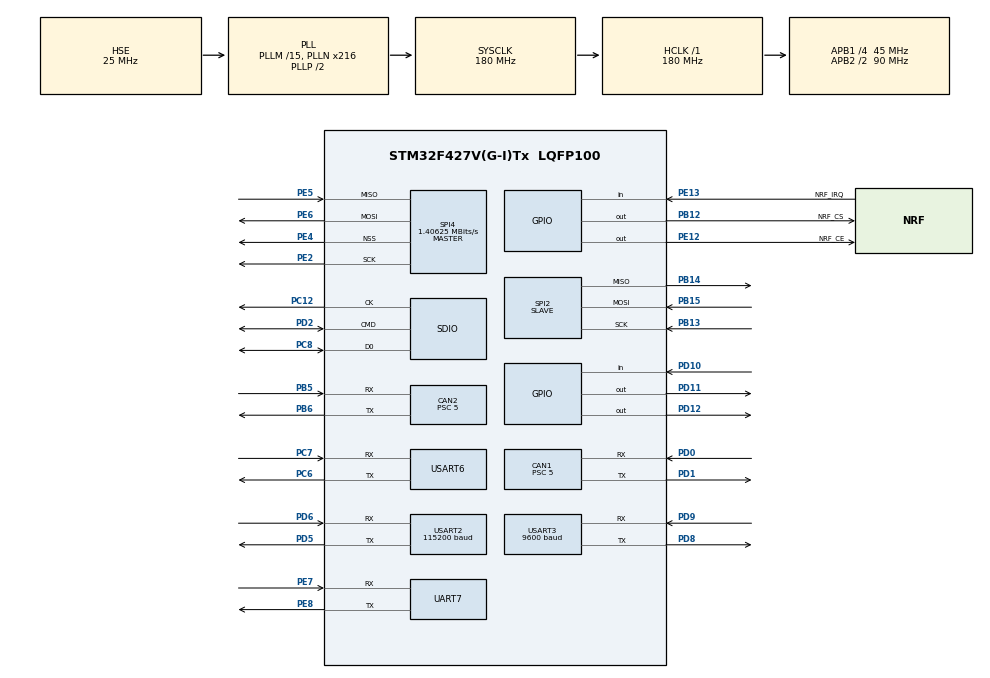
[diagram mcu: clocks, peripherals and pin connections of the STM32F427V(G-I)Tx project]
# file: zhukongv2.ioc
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CAN1.BS1=CAN_BS1_7TQ
CAN1.CalculateBaudRate=1000000
CAN1.CalculateTimeBit=1000
CAN1.CalculateTimeQuantum=111.11111111111111
CAN1.Prescaler=5
CAN1.RFLM=DISABLE
CAN2.BS1=CAN_BS1_7TQ
CAN2.CalculateBaudRate=1000000
CAN2.CalculateTimeBit=1000
CAN2.CalculateTimeQuantum=111.11111111111111
CAN2.Prescaler=5
CAN2.RFLM=DISABLE
Dma.Request0=USART6_RX
Dma.Request1=USART3_RX
Dma.USART3_RX.1.Direction=DMA_PERIPH_TO_MEMORY
Dma.USART3_RX.1.FIFOMode=DMA_FIFOMODE_DISABLE
Dma.USART3_RX.1.Instance=DMA1_Stream1
Dma.USART3_RX.1.MemDataAlignment=DMA_MDATAALIGN_BYTE
Dma.USART3_RX.1.MemInc=DMA_MINC_ENABLE
Dma.USART3_RX.1.Mode=DMA_CIRCULAR
Dma.USART3_RX.1.PeriphDataAlignment=DMA_PDATAALIGN_BYTE
Dma.USART3_RX.1.PeriphInc=DMA_PINC_DISABLE
Dma.USART3_RX.1.Priority=DMA_PRIORITY_LOW
Dma.USART6_RX.0.Direction=DMA_PERIPH_TO_MEMORY
Dma.USART6_RX.0.FIFOMode=DMA_FIFOMODE_DISABLE
Dma.USART6_RX.0.Instance=DMA2_Stream1
Dma.USART6_RX.0.MemDataAlignment=DMA_MDATAALIGN_BYTE
Dma.USART6_RX.0.MemInc=DMA_MINC_ENABLE
Dma.USART6_RX.0.Mode=DMA_CIRCULAR
Dma.USART6_RX.0.PeriphDataAlignment=DMA_PDATAALIGN_BYTE
Dma.USART6_RX.0.PeriphInc=DMA_PINC_DISABLE
Dma.USART6_RX.0.Priority=DMA_PRIORITY_LOW
FATFS._CODE_PAGE=936
FATFS._MAX_SS=4096
FATFS._USE_CHMOD=1
FATFS._USE_EXPAND=1
FATFS._USE_FIND=1
FATFS._USE_FORWARD=1
FATFS._USE_LABEL=1
FATFS._USE_LFN=2
FATFS._VOLUMES=2
FREERTOS.Tasks01=defaultTask,8,128,StartDefaultTask,Default,NULL,Dynamic,NULL,NULL;TrotForward,24,256,TrotForwardTask,Default,NULL,Dynamic,NULL,NULL;TrotBack,24,256,TrotBackTask,Default,NULL,Dynamic,NULL,NULL;RotateLeft,24,256,RotateLeftTask,Default,NULL,Dynamic,NULL,NULL;RotateRight,24,256,RotateRightTask,Default,NULL,Dynamic,NULL,NULL;MoveLeft,32,256,MoveLeftTask,Default,NULL,Dynamic,NULL,NULL;MoveRight,24,256,MoveRightTask,Default,NULL,Dynamic,NULL,NULL;JumpUp,24,256,JumpUpTask,Default,NULL,Dynamic,NULL,NULL;JumpForward,24,256,JumpForwardTask,Default,NULL,Dynamic,NULL,NULL;WalkSlope,24,512,WalkSlopeTask,Default,NULL,Dynamic,NULL,NULL;WalkSlope_LR,24,512,WalkSlopeLRTask,Default,NULL,Dynamic,NULL,NULL;Stand,24,128,StandTask,Default,NULL,Dynamic,NULL,NULL;ParseHandle,32,128,ParseHandleTask,Default,NULL,Dynamic,NULL,NULL;ParseIMU,32,128,ParseIMUTask,Default,NULL,Dynamic,NULL,NULL;NotifyAction,32,128,NotifyActionTask,Default,NULL,Dynamic,NULL,NULL;ParseCamera,32,128,ParseCameraTask,Default,NULL,Dynamic,NULL,NULL
FREERTOS.configCHECK_FOR_STACK_OVERFLOW=2
FREERTOS.configTOTAL_HEAP_SIZE=20000
Mcu.Family=STM32F4
Mcu.Name=STM32F427V(G-I)Tx
Mcu.Package=LQFP100
NVIC.CAN1_RX0_IRQn=true\:5\:0\:false\:false\:true\:true\:true\:true\:true
NVIC.CAN1_RX1_IRQn=true\:5\:0\:false\:false\:true\:true\:true\:true\:true
NVIC.CAN2_RX0_IRQn=true\:5\:0\:false\:false\:true\:true\:true\:true\:true
NVIC.CAN2_RX1_IRQn=true\:5\:0\:false\:false\:true\:true\:true\:true\:true
NVIC.DMA1_Stream1_IRQn=true\:5\:0\:false\:false\:true\:true\:false\:true\:true
NVIC.DMA2_Stream1_IRQn=true\:5\:0\:false\:false\:true\:true\:false\:true\:true
NVIC.PriorityGroup=NVIC_PRIORITYGROUP_4
NVIC.SDIO_IRQn=true\:5\:0\:false\:false\:true\:true\:true\:true\:true
NVIC.SPI4_IRQn=true\:5\:0\:false\:false\:true\:true\:true\:true\:true
NVIC.TIM2_IRQn=true\:5\:0\:true\:false\:true\:true\:true\:true\:true
NVIC.USART2_IRQn=true\:5\:0\:false\:false\:true\:true\:true\:true\:true
NVIC.USART3_IRQn=true\:5\:0\:false\:false\:true\:true\:true\:true\:true
NVIC.USART6_IRQn=true\:5\:0\:false\:false\:true\:true\:true\:true\:true
PA13.Mode=Serial_Wire
PA13.Signal=SYS_JTMS-SWDIO
PA14.Mode=Serial_Wire
PA14.Signal=SYS_JTCK-SWCLK
PB12.GPIO_Label=NRF_CS
PB12.GPIO_Speed=GPIO_SPEED_FREQ_HIGH
PB12.PinState=GPIO_PIN_SET
PB12.Signal=GPIO_Output
PB13.Mode=Full_Duplex_Slave
PB13.Signal=SPI2_SCK
PB14.Mode=Full_Duplex_Slave
PB14.Signal=SPI2_MISO
PB15.Mode=Full_Duplex_Slave
PB15.Signal=SPI2_MOSI
PB5.GPIO_PuPd=GPIO_NOPULL
PB5.Mode=CAN_Activate
PB5.Signal=CAN2_RX
PB6.GPIO_PuPd=GPIO_NOPULL
PB6.Mode=CAN_Activate
PB6.Signal=CAN2_TX
PC12.Mode=SD_1_bit
PC12.Signal=SDIO_CK
PC6.Mode=Asynchronous
PC6.Signal=USART6_TX
PC7.Mode=Asynchronous
PC7.Signal=USART6_RX
PC8.Mode=SD_1_bit
PC8.Signal=SDIO_D0
PD0.GPIO_PuPd=GPIO_NOPULL
PD0.Mode=CAN_Activate
PD0.Signal=CAN1_RX
PD1.GPIO_PuPd=GPIO_NOPULL
PD1.Mode=CAN_Activate
PD1.Signal=CAN1_TX
PD10.Signal=GPIO_Input
PD11.GPIO_PuPd=GPIO_PULLUP
PD11.Signal=GPIO_Output
PD12.GPIO_PuPd=GPIO_PULLUP
PD12.PinState=GPIO_PIN_SET
PD12.Signal=GPIO_Output
PD2.Mode=SD_1_bit
PD2.Signal=SDIO_CMD
PD5.Mode=Asynchronous
PD5.Signal=USART2_TX
PD6.Mode=Asynchronous
PD6.Signal=USART2_RX
PD8.Mode=Asynchronous
PD8.Signal=USART3_TX
PD9.Mode=Asynchronous
PD9.Signal=USART3_RX
PE12.GPIO_Label=NRF_CE
PE12.GPIO_Speed=GPIO_SPEED_FREQ_HIGH
PE12.PinState=GPIO_PIN_SET
PE12.Signal=GPIO_Output
PE13.GPIO_Label=NRF_IRQ
PE13.GPIO_PuPd=GPIO_PULLUP
PE13.Signal=GPIO_Input
PE2.Mode=Full_Duplex_Master
PE2.Signal=SPI4_SCK
PE4.Mode=NSS_Signal_Hard_Output
PE4.Signal=SPI4_NSS
PE5.Mode=Full_Duplex_Master
PE5.Signal=SPI4_MISO
PE6.Mode=Full_Duplex_Master
PE6.Signal=SPI4_MOSI
PE7.Mode=Asynchronous
PE7.Signal=UART7_RX
PE8.Mode=Asynchronous
PE8.Signal=UART7_TX
PH0/OSC_IN.Mode=HSE-External-Oscillator
PH0/OSC_IN.Signal=RCC_OSC_IN
PH1/OSC_OUT.Mode=HSE-External-Oscillator
PH1/OSC_OUT.Signal=RCC_OSC_OUT
ProjectManager.HeapSize=0x200
ProjectManager.StackSize=0x400
ProjectManager.TargetToolchain=EWARM V8.32
RCC.48MHZClocksFreq_Value=45000000
RCC.AHBFreq_Value=180000000
RCC.APB1CLKDivider=RCC_HCLK_DIV4
RCC.APB1Freq_Value=45000000
RCC.APB1TimFreq_Value=90000000
RCC.APB2CLKDivider=RCC_HCLK_DIV2
RCC.APB2Freq_Value=90000000
RCC.APB2TimFreq_Value=180000000
RCC.CortexFreq_Value=180000000
RCC.HCLKFreq_Value=180000000
RCC.HSE_VALUE=25000000
RCC.HSI_VALUE=16000000
RCC.LSE_VALUE=32768
RCC.PLLM=15
RCC.PLLN=216
RCC.PLLQ=8
RCC.PLLSourceVirtual=RCC_PLLSOURCE_HSE
RCC.SYSCLKFreq_VALUE=180000000
RCC.SYSCLKSource=RCC_SYSCLKSOURCE_PLLCLK
RCC.VCOOutputFreq_Value=360000000
SPI2.Direction=SPI_DIRECTION_2LINES
SPI2.Mode=SPI_MODE_SLAVE
SPI2.VirtualType=VM_SLAVE
SPI4.BaudRatePrescaler=SPI_BAUDRATEPRESCALER_64
SPI4.CalculateBaudRate=1.40625 MBits/s
SPI4.Direction=SPI_DIRECTION_2LINES
SPI4.Mode=SPI_MODE_MASTER
SPI4.VirtualNSS=VM_NSSHARD
SPI4.VirtualType=VM_MASTER
TIM2.AutoReloadPreload=TIM_AUTORELOAD_PRELOAD_ENABLE
TIM2.Channel-Output\ Compare1\ No\ Output=TIM_CHANNEL_1
TIM2.Period=199
TIM2.Prescaler=89
UART7.VirtualMode=Asynchronous
USART2.BaudRate=115200
USART2.VirtualMode=VM_ASYNC
USART3.BaudRate=9600
USART3.VirtualMode=VM_ASYNC
USART6.VirtualMode=VM_ASYNC
VP_FATFS_VS_Generic.Mode=User_defined
VP_FATFS_VS_SDIO.Mode=SDIO
VP_FREERTOS_VS_CMSIS_V2.Mode=CMSIS_V2
VP_TIM2_VS_no_output1.Mode=Output Compare1 No Output
board=custom

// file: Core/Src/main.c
/* USER CODE BEGIN Header */
/**
  ******************************************************************************
  * @file           : main.c
  * @brief          : Main program body
  ******************************************************************************
  * @attention
  *
  * Copyright (c) 2025 STMicroelectronics.
  * All rights reserved.
  *
  * This software is licensed under terms that can be found in the LICENSE file
  * in the root directory of this software component.
  * If no LICENSE file comes with this software, it is provided AS-IS.
  *
  ******************************************************************************
  */
/* USER CODE END Header */
#include "main.h"
#include "cmsis_os.h"
#include "can.h"
#include "dma.h"
#include "fatfs.h"
#include "sdio.h"
#include "spi.h"
#include "tim.h"
#include "usart.h"
#include "gpio.h"

/* USER CODE BEGIN Includes */

#include "DeepJ60_Motor.h"
#include "GaitController.h"
#include "Handle.h"
#include "imu.h"
#include "Camera.h"

/* USER CODE END Includes */

/* USER CODE BEGIN PV */

QueueHandle_t cmd_queue = NULL;
QueueHandle_t imu_queue = NULL;
QueueHandle_t camera_queue = NULL;
uint8_t rx_cmd[HANDLE_DATA_SIZE];

/* USER CODE END PV */

void SystemClock_Config(void);
void MX_FREERTOS_Init(void);

int main(void)
{

  /* MCU Configuration--------------------------------------------------------*/

  /* Reset of all peripherals, Initializes the Flash interface and the Systick. */
  HAL_Init();

  /* Configure the system clock */
  SystemClock_Config();

  /* Initialize all configured peripherals */
  MX_GPIO_Init();
  MX_DMA_Init();
  MX_CAN1_Init();
  MX_CAN2_Init();
  MX_SPI4_Init();
  MX_TIM2_Init();
  MX_SDIO_SD_Init();
  MX_FATFS_Init();
  MX_UART7_Init();
  MX_USART3_UART_Init();
  MX_USART6_UART_Init();
  MX_USART2_UART_Init();
  MX_SPI2_Init();
  /* USER CODE BEGIN 2 */

  HAL_Delay(4000);

  EnableJ60Motor(&J60Motor_CAN1[0], 1, 1); // lf out
  EnableJ60Motor(&J60Motor_CAN1[1], 2, 1); // lf in
  EnableJ60Motor(&J60Motor_CAN2[0], 1, 2); // rb out
  EnableJ60Motor(&J60Motor_CAN2[1], 2, 2); // rb in

  HAL_Delay(1);
  RunJ60Motor(&J60Motor_CAN1[0], J60Motor_StandUpData_CAN1[0], 0, 0, 20, 4, PositionMode);
  HAL_Delay(1);
  RunJ60Motor(&J60Motor_CAN1[1], J60Motor_StandUpData_CAN1[1], 0, 0, 20, 4, PositionMode);
  HAL_Delay(1);
  RunJ60Motor(&J60Motor_CAN2[0], J60Motor_StandUpData_CAN2[0], 0, 0, 20, 4, PositionMode);
  HAL_Delay(1);
  RunJ60Motor(&J60Motor_CAN2[1], J60Motor_StandUpData_CAN2[1], 0, 0, 20, 4, PositionMode);

  HAL_Delay(2000);

  HAL_UARTEx_ReceiveToIdle_DMA(&huart3, (uint8_t*)dma_buffer, DMA_BUFFER_SIZE);
  // HAL_UARTEx_Receive_DMA(&huart6, (uint8_t*)dma_buffer, DMA_BUFFER_SIZE);
  HAL_UART_Receive_IT(&huart2, (uint8_t*)rx_bytes, RX_BTYES_LENGTH);

  cmd_queue = xQueueCreate(10, sizeof(uint8_t) * HANDLE_DATA_SIZE);
  imu_queue = xQueueCreate(10, sizeof(uint8_t) * IMU_DATA_SIZE);
  camera_queue = xQueueCreate(10, sizeof(uint8_t) * RX_BTYES_LENGTH);

  /* USER CODE END 2 */

  /* Init scheduler */
  osKernelInitialize();

  /* Call init function for freertos objects (in cmsis_os2.c) */
  MX_FREERTOS_Init();

  /* Start scheduler */
  osKernelStart();

  /* We should never get here as control is now taken by the scheduler */

  /* Infinite loop */
  /* USER CODE BEGIN WHILE */
  while (1)
  {
    // HAL_Delay(1);
    // RunJ60Motor(&J60Motor_CAN1[0], 0, 0, 0, 0, 0, ZeroTorqueMode);
    // HAL_Delay(1);
    // RunJ60Motor(&J60Motor_CAN1[1], 0, 0, 0, 0, 0, ZeroTorqueMode);
    // HAL_Delay(1);
    // RunJ60Motor(&J60Motor_CAN2[0], 0, 0, 0, 0, 0, ZeroTorqueMode);
    // HAL_Delay(1);
    // RunJ60Motor(&J60Motor_CAN2[1], 0, 0, 0, 0, 0, ZeroTorqueMode);

    /* USER CODE END WHILE */

  }
}

void SystemClock_Config(void)
{
  RCC_OscInitTypeDef RCC_OscInitStruct = {0};
  RCC_ClkInitTypeDef RCC_ClkInitStruct = {0};

  /** Configure the main internal regulator output voltage
  */
  __HAL_RCC_PWR_CLK_ENABLE();
  __HAL_PWR_VOLTAGESCALING_CONFIG(PWR_REGULATOR_VOLTAGE_SCALE1);

  /** Initializes the RCC Oscillators according to the specified parameters
  * in the RCC_OscInitTypeDef structure.
  */
  RCC_OscInitStruct.OscillatorType = RCC_OSCILLATORTYPE_HSE;
  RCC_OscInitStruct.HSEState = RCC_HSE_ON;
  RCC_OscInitStruct.PLL.PLLState = RCC_PLL_ON;
  RCC_OscInitStruct.PLL.PLLSource = RCC_PLLSOURCE_HSE;
  RCC_OscInitStruct.PLL.PLLM = 15;
  RCC_OscInitStruct.PLL.PLLN = 216;
  RCC_OscInitStruct.PLL.PLLP = RCC_PLLP_DIV2;
  RCC_OscInitStruct.PLL.PLLQ = 8;
  if (HAL_RCC_OscConfig(&RCC_OscInitStruct) != HAL_OK)
  {
    Error_Handler();
  }

  /** Activate the Over-Drive mode
  */
  if (HAL_PWREx_EnableOverDrive() != HAL_OK)
  {
    Error_Handler();
  }

  /** Initializes the CPU, AHB and APB buses clocks
  */
  RCC_ClkInitStruct.ClockType = RCC_CLOCKTYPE_HCLK|RCC_CLOCKTYPE_SYSCLK
                              |RCC_CLOCKTYPE_PCLK1|RCC_CLOCKTYPE_PCLK2;
  RCC_ClkInitStruct.SYSCLKSource = RCC_SYSCLKSOURCE_PLLCLK;
  RCC_ClkInitStruct.AHBCLKDivider = RCC_SYSCLK_DIV1;
  RCC_ClkInitStruct.APB1CLKDivider = RCC_HCLK_DIV4;
  RCC_ClkInitStruct.APB2CLKDivider = RCC_HCLK_DIV2;

  if (HAL_RCC_ClockConfig(&RCC_ClkInitStruct, FLASH_LATENCY_5) != HAL_OK)
  {
    Error_Handler();
  }
}

void Error_Handler(void)
{
  __disable_irq();
  while (1)
  {
  }
}

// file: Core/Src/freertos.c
/* USER CODE BEGIN Header */
/**
  ******************************************************************************
  * File Name          : freertos.c
  * Description        : Code for freertos applications
  ******************************************************************************
  * @attention
  *
  * Copyright (c) 2025 STMicroelectronics.
  * All rights reserved.
  *
  * This software is licensed under terms that can be found in the LICENSE file
  * in the root directory of this software component.
  * If no LICENSE file comes with this software, it is provided AS-IS.
  *
  ******************************************************************************
  */
/* USER CODE END Header */

#include "FreeRTOS.h"
#include "task.h"
#include "main.h"
#include "cmsis_os.h"

/* USER CODE BEGIN Includes */

#include "GaitController.h"
#include "Handle.h"
#include "imu.h"
#include "Camera.h"
#include "tim.h"
#include "math.h"
#include "foot_attitude_calculation.h"

/* USER CODE END Includes */

/* USER CODE BEGIN PM */

#define START_ACTION 2
#define END_ACTION 1

#define INIT_TROT_LENGTH 0.2f
#define MAX_TROT_LENGTH 0.3f

/* USER CODE END PM */

/* USER CODE BEGIN Variables */

osThreadId_t TaskHandle = NULL;
int is_stack_overflow = 0;

float trot_length = INIT_TROT_LENGTH;

int tim_callback = 0;

//uint8_t rx_cmd[HANDLE_DATA_SIZE];

/* USER CODE END Variables */
/* Definitions for defaultTask */
osThreadId_t defaultTaskHandle;
const osThreadAttr_t defaultTask_attributes = {
  .name = "defaultTask",
  .stack_size = 128 * 4,
  .priority = (osPriority_t) osPriorityLow,
};
/* Definitions for TrotForward */
osThreadId_t TrotForwardHandle;
const osThreadAttr_t TrotForward_attributes = {
  .name = "TrotForward",
  .stack_size = 256 * 4,
  .priority = (osPriority_t) osPriorityNormal,
};
/* Definitions for TrotBack */
osThreadId_t TrotBackHandle;
const osThreadAttr_t TrotBack_attributes = {
  .name = "TrotBack",
  .stack_size = 256 * 4,
  .priority = (osPriority_t) osPriorityNormal,
};
/* Definitions for RotateLeft */
osThreadId_t RotateLeftHandle;
const osThreadAttr_t RotateLeft_attributes = {
  .name = "RotateLeft",
  .stack_size = 256 * 4,
  .priority = (osPriority_t) osPriorityNormal,
};
/* Definitions for RotateRight */
osThreadId_t RotateRightHandle;
const osThreadAttr_t RotateRight_attributes = {
  .name = "RotateRight",
  .stack_size = 256 * 4,
  .priority = (osPriority_t) osPriorityNormal,
};
/* Definitions for MoveLeft */
osThreadId_t MoveLeftHandle;
const osThreadAttr_t MoveLeft_attributes = {
  .name = "MoveLeft",
  .stack_size = 256 * 4,
  .priority = (osPriority_t) osPriorityAboveNormal,
};
/* Definitions for MoveRight */
osThreadId_t MoveRightHandle;
const osThreadAttr_t MoveRight_attributes = {
  .name = "MoveRight",
  .stack_size = 256 * 4,
  .priority = (osPriority_t) osPriorityNormal,
};
/* Definitions for JumpUp */
osThreadId_t JumpUpHandle;
const osThreadAttr_t JumpUp_attributes = {
  .name = "JumpUp",
  .stack_size = 256 * 4,
  .priority = (osPriority_t) osPriorityNormal,
};
/* Definitions for JumpForward */
osThreadId_t JumpForwardHandle;
const osThreadAttr_t JumpForward_attributes = {
  .name = "JumpForward",
  .stack_size = 256 * 4,
  .priority = (osPriority_t) osPriorityNormal,
};
/* Definitions for WalkSlope */
osThreadId_t WalkSlopeHandle;
const osThreadAttr_t WalkSlope_attributes = {
  .name = "WalkSlope",
  .stack_size = 512 * 4,
  .priority = (osPriority_t) osPriorityNormal,
};
/* Definitions for WalkSlope_LR */
osThreadId_t WalkSlope_LRHandle;
const osThreadAttr_t WalkSlope_LR_attributes = {
  .name = "WalkSlope_LR",
  .stack_size = 512 * 4,
  .priority = (osPriority_t) osPriorityNormal,
};
/* Definitions for Stand */
osThreadId_t StandHandle;
const osThreadAttr_t Stand_attributes = {
  .name = "Stand",
  .stack_size = 128 * 4,
  .priority = (osPriority_t) osPriorityNormal,
};
/* Definitions for ParseHandle */
osThreadId_t ParseHandleHandle;
const osThreadAttr_t ParseHandle_attributes = {
  .name = "ParseHandle",
  .stack_size = 128 * 4,
  .priority = (osPriority_t) osPriorityAboveNormal,
};
/* Definitions for ParseIMU */
osThreadId_t ParseIMUHandle;
const osThreadAttr_t ParseIMU_attributes = {
  .name = "ParseIMU",
  .stack_size = 128 * 4,
  .priority = (osPriority_t) osPriorityAboveNormal,
};
/* Definitions for NotifyAction */
osThreadId_t NotifyActionHandle;
const osThreadAttr_t NotifyAction_attributes = {
  .name = "NotifyAction",
  .stack_size = 128 * 4,
  .priority = (osPriority_t) osPriorityAboveNormal,
};
/* Definitions for ParseCamera */
osThreadId_t ParseCameraHandle;
const osThreadAttr_t ParseCamera_attributes = {
  .name = "ParseCamera",
  .stack_size = 128 * 4,
  .priority = (osPriority_t) osPriorityAboveNormal,
};

void StartDefaultTask(void *argument);
void TrotForwardTask(void *argument);
void TrotBackTask(void *argument);
void RotateLeftTask(void *argument);
void RotateRightTask(void *argument);
void MoveLeftTask(void *argument);
void MoveRightTask(void *argument);
void JumpUpTask(void *argument);
void JumpForwardTask(void *argument);
void WalkSlopeTask(void *argument);
void WalkSlopeLRTask(void *argument);
void StandTask(void *argument);
void ParseHandleTask(void *argument);
void ParseIMUTask(void *argument);
void NotifyActionTask(void *argument);
void ParseCameraTask(void *argument);

void MX_FREERTOS_Init(void); /* (MISRA C 2004 rule 8.1) */

/* Hook prototypes */
void vApplicationStackOverflowHook(xTaskHandle xTask, signed char *pcTaskName);

/* USER CODE BEGIN 4 */
void vApplicationStackOverflowHook(xTaskHandle xTask, signed char *pcTaskName)
{
   /* Run time stack overflow checking is performed if
   configCHECK_FOR_STACK_OVERFLOW is defined to 1 or 2. This hook function is
   called if a stack overflow is detected. */
   is_stack_overflow = 1;
   while (1);
}
/* USER CODE END 4 */

void MX_FREERTOS_Init(void) {

  /* Create the thread(s) */
  /* creation of defaultTask */
  defaultTaskHandle = osThreadNew(StartDefaultTask, NULL, &defaultTask_attributes);

  /* creation of TrotForward */
  TrotForwardHandle = osThreadNew(TrotForwardTask, NULL, &TrotForward_attributes);

  /* creation of TrotBack */
  TrotBackHandle = osThreadNew(TrotBackTask, NULL, &TrotBack_attributes);

  /* creation of RotateLeft */
  RotateLeftHandle = osThreadNew(RotateLeftTask, NULL, &RotateLeft_attributes);

  /* creation of RotateRight */
  RotateRightHandle = osThreadNew(RotateRightTask, NULL, &RotateRight_attributes);

  /* creation of MoveLeft */
  MoveLeftHandle = osThreadNew(MoveLeftTask, NULL, &MoveLeft_attributes);

  /* creation of MoveRight */
  MoveRightHandle = osThreadNew(MoveRightTask, NULL, &MoveRight_attributes);

  /* creation of JumpUp */
  JumpUpHandle = osThreadNew(JumpUpTask, NULL, &JumpUp_attributes);

  /* creation of JumpForward */
  JumpForwardHandle = osThreadNew(JumpForwardTask, NULL, &JumpForward_attributes);

  /* creation of WalkSlope */
  WalkSlopeHandle = osThreadNew(WalkSlopeTask, NULL, &WalkSlope_attributes);

  /* creation of WalkSlope_LR */
  WalkSlope_LRHandle = osThreadNew(WalkSlopeLRTask, NULL, &WalkSlope_LR_attributes);

  /* creation of Stand */
  StandHandle = osThreadNew(StandTask, NULL, &Stand_attributes);

  /* creation of ParseHandle */
  ParseHandleHandle = osThreadNew(ParseHandleTask, NULL, &ParseHandle_attributes);

  /* creation of ParseIMU */
  ParseIMUHandle = osThreadNew(ParseIMUTask, NULL, &ParseIMU_attributes);

  /* creation of NotifyAction */
  NotifyActionHandle = osThreadNew(NotifyActionTask, NULL, &NotifyAction_attributes);

  /* creation of ParseCamera */
  ParseCameraHandle = osThreadNew(ParseCameraTask, NULL, &ParseCamera_attributes);

}

void StartDefaultTask(void *argument)
{
  for(;;)
  {
    osDelay(1);
  }
}

void TrotForwardTask(void *argument)
{
  /* USER CODE BEGIN TrotForwardTask */

  uint32_t notify_value = 0;
  float coef = 0.35 / 125;  // max trot length = 0.5
  float coef_turn = 0.15 / 125;  // max difference length of two side is 0.15
  // float coef_camera = 0.00078;  // max difference length of two side is 0.1, while using camera
  int stage = 0;
  float trot_unit = 0.35 / 4;
  float trot_length_1 = trot_unit;
  int buttom_joystick = 0;
  float left_length = 0;
  float right_length = 0;

  // float error_left_x = 0;
  // float error_right_x = 0;
  // float error_slope = 0;
  float coef_x = 0.15;
  // float coef_slope = 0.1;
  float correct = 0;

  /* Infinite loop */
  for(;;)
  {
    if (xTaskNotifyWait(0, 0, &notify_value, 0) == pdTRUE) {
      if (notify_value == START_ACTION) {
        // if (handle_command[0] == TROT_FORWARD_CMD) {
        //   if (trot_controller.trot_state == EndTrot) {
        //     trot_controller.trot_state = PreTrot;
        //     trot_controller.trot_direction = Forward;
        //     t = 0;
			  //     buttom_joystick = 0;
        //   }
        // }
        if (handle_command[0] == TROT_FORWARD_CMD) {
          if (turn_controller.turn_state == EndTurn) {
            turn_controller.turn_state = PreTurn;
            // trot_controller.trot_direction = Forward;
            t = 0;
			      buttom_joystick = 0;
          }
        }
        else {
          if (turn_controller.turn_state == EndTurn) {
            turn_controller.turn_state = PreTurn;
            t = 0;
			      buttom_joystick = 1;
          }
        }
      }
      else if (notify_value == END_ACTION) {
        if (turn_controller.turn_state == Turning || trot_controller.trot_state == Trotting) {
          isStop = NEED_TO_STOP;
        }
        // if (turn_controller.turn_state == Turning) {
        //   isStop = NEED_TO_STOP;
        // }
      }

      if (buttom_joystick == 1) {

        trot_length = coef * abs(handle_command[2] - 125);

        if (handle_command[3] - 125 > 0) {
          turn_controller.turn_angular_direction = TurnRight;
          left_length = trot_length + coef_turn * abs(handle_command[3] - 125) / 2;
          right_length = trot_length - coef_turn * abs(handle_command[3] - 125) / 2;
          Turn_FSM(&turn_controller, left_length, right_length, 0.03, robot_height);
        }
        else if (handle_command[3] - 125 < 0) {
          turn_controller.turn_angular_direction = TurnLeft;
          left_length = trot_length - coef_turn * abs(handle_command[3] - 125) / 2;
          right_length = trot_length + coef_turn * abs(handle_command[3] - 125) / 2;
          Turn_FSM(&turn_controller, left_length, right_length, 0.03, robot_height);
        }
        else {
          Turn_FSM(&turn_controller, trot_length, trot_length, 0.03, robot_height);
        }

        if (turn_controller.turn_state != EndTurn) {
          __HAL_TIM_CLEAR_IT(&htim2, TIM_IT_UPDATE);
          __HAL_TIM_SET_COUNTER(&htim2, 0);
          HAL_TIM_Base_Start_IT(&htim2);
        }
      }
      else {
        if (left_x != -1 && right_x != -1) {
          if (left_x == 255) {
            correct = coef_x * right_x / 200.0;
            left_length = trot_length_1 + correct / 2;
            right_length = trot_length_1 - correct / 2;
          }
          else if (right_x == 255) {
            correct = coef_x * left_x / 200.0;
            left_length = trot_length_1 - correct / 2;
            right_length = trot_length_1 + correct / 2;
          }
          else if (abs(left_x - right_x) > 50) {
            correct = coef_x * abs(left_x - right_x) / 200.0;
            if (left_x > right_x) {
              left_length = trot_length_1 - correct / 2;
              right_length = trot_length_1 + correct / 2;
            }
            else {
              left_length = trot_length_1 + correct / 2;
              right_length = trot_length_1 - correct / 2;
            }
          }
        }

        // no camera
        // left_length = trot_length_1;
        // right_length = trot_length_1;

        // ---------------------------------------------------
        // turn_controller.turn_angular_direction = TurnLeft;
        if (turn_controller.turn_state == PreTurn) {
          Turn_FSM(&turn_controller, left_length, right_length, 0.03, robot_height);
          if (turn_controller.turn_state == Turning) {
            trot_length_1 += trot_unit;
          }
        }
        else {
          Turn_FSM(&turn_controller, left_length, right_length, 0.03, robot_height);
          if (t == 0) {
            if (stage == 0) {
              trot_length_1 += trot_unit;
              stage = 1;
            }
            else if (stage == 1) {
              trot_length_1 += trot_unit;
              stage = 2;
            }
          }
		      if (turn_controller.turn_state == EndTurn) {
            trot_length_1 = trot_unit;
            stage = 0;
          }
        }
        // Turn_FSM(&turn_controller, trot_length, trot_length, 0.05, robot_height);

        if (turn_controller.turn_state != EndTurn) {
          __HAL_TIM_CLEAR_IT(&htim2, TIM_IT_UPDATE);
          __HAL_TIM_SET_COUNTER(&htim2, 0);
          HAL_TIM_Base_Start_IT(&htim2);
        }
      }
      // if (trot_controller.trot_state != EndTrot) {
      //   trot_length = 0.3;
      //   Trot_FSM(&trot_controller, 0.05,rot_length, robot_height);
      //   // Trot_FSM(&trot_controller, 0.03, (0.0024 * abs(handle_command[2] - 125)), robot_height);

      //   if (trot_controller.trot_state != EndTrot) {
      //     __HAL_TIM_CLEAR_IT(&htim2, TIM_IT_UPDATE);
      //     __HAL_TIM_SET_COUNTER(&htim2, 0);
      //     HAL_TIM_Base_Start_IT(&htim2);
      //   }
      // }

      notify_value = 0;
    }

    osDelay(1);
  }
  /* USER CODE END TrotForwardTask */
}

void TrotBackTask(void *argument)
{
  /* USER CODE BEGIN TrotBackTask */

  uint32_t notify_value = 0;
  float coef = 0.0016;  // max trot length = 0.2 (0.0016 = 0.2 / 125)

  /* Infinite loop */
  for(;;)
  {
    if (xTaskNotifyWait(0, 0, &notify_value, 0) == pdTRUE) {
      if (notify_value == START_ACTION) {
        if (trot_controller.trot_state == EndTrot) {
          trot_controller.trot_state = PreTrot;
          trot_controller.trot_direction = Back;
          t = 0;
        }
      }
      else if (notify_value == END_ACTION) {
        if (trot_controller.trot_state == Trotting) {
          isStop = NEED_TO_STOP;
        }
      }

      if (trot_controller.trot_state != EndTrot) {
        if (handle_command[0] == TROT_BACK_CMD) {
          trot_length = 0.2;
          Trot_FSM(&trot_controller, 0.06, trot_length, robot_height);
        }
        else {
          Trot_FSM(&trot_controller, 0.06, (coef * abs(handle_command[2] - 125)), robot_height);
        }
        // Trot_FSM(&trot_controller, 0.03, trot_length, robot_height);
        // Trot_FSM(&trot_controller, 0.03, (coef * abs(handle_command[2] - 125)), robot_height);

        if (trot_controller.trot_state != EndTrot) {
          __HAL_TIM_CLEAR_IT(&htim2, TIM_IT_UPDATE);
          __HAL_TIM_SET_COUNTER(&htim2, 0);
          HAL_TIM_Base_Start_IT(&htim2);
        }
      }

      notify_value = 0;
    }

    osDelay(1);
  }
  /* USER CODE END TrotBackTask */
}

void RotateLeftTask(void *argument)
{
  /* USER CODE BEGIN RotateLeftTask */

  uint32_t notify_value = 0;

  /* Infinite loop */
  for(;;)
  {
    if (xTaskNotifyWait(0, 0, &notify_value, 0) == pdTRUE) {
      if (notify_value == START_ACTION) {
        if (rotate_controller.rotate_state == EndRotate) {
          rotate_controller.rotate_state = PreRotate;
          rotate_controller.rotate_direction = Left;
          t = 0;
        }
      }
      else if (notify_value == END_ACTION) {
        if (rotate_controller.rotate_state == Rotating) {
          isStop = NEED_TO_STOP;
        }
      }

      if (rotate_controller.rotate_state != EndRotate) {
        Rotate_FSM(&rotate_controller, 0.03, 0.12, robot_height);

        if (rotate_controller.rotate_state != EndRotate) {
          __HAL_TIM_CLEAR_IT(&htim2, TIM_IT_UPDATE);
          __HAL_TIM_SET_COUNTER(&htim2, 0);
          HAL_TIM_Base_Start_IT(&htim2);
        }
      }

      notify_value = 0;
    }

    osDelay(1);
  }
  /* USER CODE END RotateLeftTask */
}

void RotateRightTask(void *argument)
{
  /* USER CODE BEGIN RotateRightTask */

  uint32_t notify_value = 0;

  /* Infinite loop */
  for(;;)
  {
    if (xTaskNotifyWait(0, 0, &notify_value, 0) == pdTRUE) {
      if (notify_value == START_ACTION) {
        if (rotate_controller.rotate_state == EndRotate) {
          rotate_controller.rotate_state = PreRotate;
          rotate_controller.rotate_direction = Right;
          t = 0;
        }
      }
      else if (notify_value == END_ACTION) {
        if (rotate_controller.rotate_state == Rotating) {
          isStop = NEED_TO_STOP;
        }
      }

      if (rotate_controller.rotate_state != EndRotate) {
        Rotate_FSM(&rotate_controller, 0.03, 0.12, robot_height);

        if (rotate_controller.rotate_state != EndRotate) {
          __HAL_TIM_CLEAR_IT(&htim2, TIM_IT_UPDATE);
          __HAL_TIM_SET_COUNTER(&htim2, 0);
          HAL_TIM_Base_Start_IT(&htim2);
        }
      }

      notify_value = 0;
    }

    osDelay(1);
  }
  /* USER CODE END RotateRightTask */
}

void MoveLeftTask(void *argument)
{
  /* USER CODE BEGIN MoveLeftTask */

  uint32_t notify_value = 0;

  /* Infinite loop */
  for(;;)
  {
    if (xTaskNotifyWait(0, 0, &notify_value, 0) == pdTRUE) {
      if (notify_value == START_ACTION) {
        // if (turn_controller.turn_state == EndTurn) {
        //   turn_controller.turn_state = PreTurn;
        //   turn_controller.turn_angular_direction = TurnLeft;
        //   t = 0;
        // }
        if (move_controller.move_state == EndMove) {
          move_controller.move_state = PreMove;
          move_controller.move_direction = MoveLeft;
          t = 0;
        }
      }
      else if (notify_value == END_ACTION) {
        // if (turn_controller.turn_state == Turning) {
        //   isStop = NEED_TO_STOP;
        // }
        if (move_controller.move_state == Moving) {
          isStop = NEED_TO_STOP;
        }
      }

      // if (turn_controller.turn_state != EndTurn) {
      //   Turn_FSM(&turn_controller, 0.04, 0.1, 0.03, robot_height);

      //   if (turn_controller.turn_state != EndTurn) {
      //     __HAL_TIM_CLEAR_IT(&htim2, TIM_IT_UPDATE);
      //     __HAL_TIM_SET_COUNTER(&htim2, 0);
      //     HAL_TIM_Base_Start_IT(&htim2);
      //   }
      // }

      if (move_controller.move_state != EndMove) {
        HorizontalMove_FSM(&move_controller, robot_height + 0.03, robot_height - 0.03, robot_height, 0.04);

        if (move_controller.move_state != EndMove) {
          __HAL_TIM_CLEAR_IT(&htim2, TIM_IT_UPDATE);
          __HAL_TIM_SET_COUNTER(&htim2, 0);
          HAL_TIM_Base_Start_IT(&htim2);
        }
      }

      notify_value = 0;
    }

    osDelay(1);
  }
  /* USER CODE END MoveLeftTask */
}

void MoveRightTask(void *argument)
{
  /* USER CODE BEGIN MoveRightTask */

  uint32_t notify_value = 0;

  /* Infinite loop */
  for(;;)
  {
    if (xTaskNotifyWait(0, 0, &notify_value, 0) == pdTRUE) {
      if (notify_value == START_ACTION) {
        // if (turn_controller.turn_state == EndTurn) {
        //   turn_controller.turn_state = PreTurn;
        //   turn_controller.turn_angular_direction = TurnRight;
        //   t = 0;
        // }
        if (move_controller.move_state == EndMove) {
          move_controller.move_state = PreMove;
          move_controller.move_direction = MoveRight;
          t = 0;
        }
      }
      else if (notify_value == END_ACTION) {
        // if (turn_controller.turn_state == Turning) {
        //   isStop = NEED_TO_STOP;
        // }
        if (move_controller.move_state == Moving) {
          isStop = NEED_TO_STOP;
        }
      }

      // if (turn_controller.turn_state != EndTurn) {
      //   Turn_FSM(&turn_controller, 0.04, 0.1, 0.03, robot_height);

      //   if (turn_controller.turn_state != EndTurn) {
      //     __HAL_TIM_CLEAR_IT(&htim2, TIM_IT_UPDATE);
      //     __HAL_TIM_SET_COUNTER(&htim2, 0);
      //     HAL_TIM_Base_Start_IT(&htim2);
      //   }
      // }

      if (move_controller.move_state != EndMove) {
        HorizontalMove_FSM(&move_controller, robot_height + 0.03, robot_height - 0.03, robot_height, 0.04);

        if (move_controller.move_state != EndMove) {
          __HAL_TIM_CLEAR_IT(&htim2, TIM_IT_UPDATE);
          __HAL_TIM_SET_COUNTER(&htim2, 0);
          HAL_TIM_Base_Start_IT(&htim2);
        }
      }

      notify_value = 0;
    }

    osDelay(1);
  }
  /* USER CODE END MoveRightTask */
}

void JumpUpTask(void *argument)
{
  /* USER CODE BEGIN JumpUpTask */

  const TickType_t freq = pdMS_TO_TICKS(10);
  TickType_t last_time = xTaskGetTickCount();
  uint32_t notify_value = 0;

  /* Infinite loop */
  for(;;)
  {
    if (xTaskNotifyWait(0, 0, &notify_value, 0) == pdTRUE) {
      if (notify_value == START_ACTION) {
        if (jump_up_controller.jump_state == EndJump) {
          jump_up_controller.jump_state = Squat;
          t = 0;
        }
      }
    }

    if (jump_up_controller.jump_state != EndJump) {
      JumpUp_FSM(&jump_up_controller);

      if (jump_up_controller.jump_state != EndJump && jump_up_controller.jump_state != Land && jump_up_controller.jump_state != JumpUp) {
        vTaskDelayUntil(&last_time, freq);
        t += NORMAL_DELTA_T;
      }
    }

    osDelay(1);
  }
  /* USER CODE END JumpUpTask */
}

void JumpForwardTask(void *argument)
{
  /* USER CODE BEGIN JumpForwardTask */

  const TickType_t freq = pdMS_TO_TICKS(10);
  TickType_t last_time = xTaskGetTickCount();
  uint32_t notify_value = 0;

  /* Infinite loop */
  for(;;)
  {
    if (xTaskNotifyWait(0, 0, &notify_value, 0) == pdTRUE) {
      if (notify_value == START_ACTION) {
        if (jump_forward_controller.jump_state == EndJump) {
          jump_forward_controller.jump_state = Squat;
          t = 0;
        }
      }
    }

    if (jump_forward_controller.jump_state != EndJump) {
      JumpForward_FSM(&jump_forward_controller);

      if (jump_forward_controller.jump_state != EndJump && jump_forward_controller.jump_state != Land && jump_forward_controller.jump_state != JumpUp) {
        vTaskDelayUntil(&last_time, freq);
        t += NORMAL_DELTA_T;
      }
    }

    osDelay(1);
  }
  /* USER CODE END JumpForwardTask */
}

void WalkSlopeTask(void *argument)
{
  /* USER CODE BEGIN WalkSlopeTask */

  uint32_t notify_value = 0;

  /* Infinite loop */
  for(;;)
  {
    if (xTaskNotifyWait(0, 0, &notify_value, 0) == pdTRUE) {
      if (notify_value == START_ACTION) {
        if (walk_slope_controller.trot_state == EndTrot) {
          walk_slope_controller.trot_state = PreTrot;
          walk_slope_controller.trot_direction = Forward;
          t = 0;
        }
      }
      else if (notify_value == END_ACTION) {
        if (walk_slope_controller.trot_state == Trotting) {
          isStop = NEED_TO_STOP;
        }
      }

      if (walk_slope_controller.trot_state != EndTrot) {
        WalkSlope_FSM(&walk_slope_controller, (1.0 / 3), 0.4, robot_height, 0.12, 0.04);

        if (walk_slope_controller.trot_state != EndTrot) {
          __HAL_TIM_CLEAR_IT(&htim2, TIM_IT_UPDATE);
          __HAL_TIM_SET_COUNTER(&htim2, 0);
          HAL_TIM_Base_Start_IT(&htim2);
        }
      }

      notify_value = 0;
    }

    osDelay(1);
  }
  /* USER CODE END WalkSlopeTask */
}

void WalkSlopeLRTask(void *argument)
{
  /* USER CODE BEGIN WalkSlopeLRTask */

  uint32_t notify_value = 0;

  /* Infinite loop */
  for(;;)
  {
    if (xTaskNotifyWait(0, 0, &notify_value, 0) == pdTRUE) {
      if (notify_value == START_ACTION) {
        if (walk_LR_slope_controller.trot_state == EndTrot) {
          walk_LR_slope_controller.trot_state = PreTrot;
          walk_LR_slope_controller.trot_direction = Forward;
          t = 0;
        }
      }
      else if (notify_value == END_ACTION) {
        if (walk_LR_slope_controller.trot_state == Trotting) {
          isStop = NEED_TO_STOP;
        }
      }

      if (walk_LR_slope_controller.trot_state != EndTrot) {
        WalkSlope_LR_FSM(&walk_LR_slope_controller, 0.268, 0.4, robot_height, 0.12, 0.09378);

        if (walk_LR_slope_controller.trot_state != EndTrot) {
          __HAL_TIM_CLEAR_IT(&htim2, TIM_IT_UPDATE);
          __HAL_TIM_SET_COUNTER(&htim2, 0);
          HAL_TIM_Base_Start_IT(&htim2);
        }
      }

      notify_value = 0;
    }

    osDelay(1);
  }
  /* USER CODE END WalkSlopeLRTask */
}

void StandTask(void *argument)
{
  /* USER CODE BEGIN StandTask */
  /* Infinite loop */
  for(;;)
  {
    if (trot_controller.trot_state == EndTrot && rotate_controller.rotate_state == EndRotate &&
        jump_up_controller.jump_state == EndJump && jump_forward_controller.jump_state == EndJump &&
        turn_controller.turn_state == EndTurn && walk_slope_controller.trot_state == EndTrot &&
        walk_LR_slope_controller.trot_state == EndTrot && move_controller.move_state == EndMove) {

      if (isSlope == NO_SLOPE) {
        Stand();
		  //trot_length = 0.2;
      }
      else if (isSlope == SLOPE) {
        Stand_on_slope(tan_slope_theta);
      }
      else if (isSlope == SLOPE_LR) {
        Stand_on_LR_slope(tan_LR_slope_theta);
      }
    }

    osDelay(10);
  }
  /* USER CODE END StandTask */
}

void ParseHandleTask(void *argument)
{
  /* USER CODE BEGIN ParseHandleTask */

  uint8_t rx_cmd[HANDLE_DATA_SIZE];
  uint8_t last_handle_command[CMD_SIZE] = {0};

  /* Infinite loop */
  for(;;)
  {
    if (xQueueReceive(cmd_queue, rx_cmd, portMAX_DELAY) == pdPASS) {
      if (CheckRxData(rx_cmd) == CMD_NORMAL) {
        ParseHandle(rx_cmd, handle_command);
        if (
          (last_handle_command[0] == STOP_CMD && handle_command[0] != STOP_CMD &&
          handle_command[0] != JUMP_UP_CMD && handle_command[0] != JUMP_FORWARD_CMD) ||
          (last_handle_command[2] == 125 && handle_command[2] != 125) ||
          (handle_command[1] == 0x01 && last_handle_command[1] == NO_CMD)) {

		      __HAL_TIM_CLEAR_IT(&htim2, TIM_IT_UPDATE);
          __HAL_TIM_SET_COUNTER(&htim2, 0);
          HAL_TIM_Base_Start_IT(&htim2);
        }

        memcpy(last_handle_command, handle_command, sizeof(handle_command));
      }
    }

    osDelay(1);
  }
  /* USER CODE END ParseHandleTask */
}

void ParseIMUTask(void *argument)
{
  /* USER CODE BEGIN ParseIMUTask */

  uint32_t notify_value = 0;
  float left_length = 0.3;
  float right_length = 0.3;
  float turn_height = 0.03;
  int count_trot = 0;  // trot time
  int count_turn = 0;  // turn time
  int count = 0;  // total time
  int trot_or_turn = 0;  // 0: trot, 1: turn

  /* Infinite loop */
  for(;;)
  {
    if (xTaskNotifyWait(0, 0, &notify_value, 0) == pdTRUE) {
      if (notify_value == START_ACTION) {
        if (turn_controller.turn_state == EndTurn) {
          turn_controller.turn_state = PreTurn;
          t = 0;
        }
      }

      if (count > 10000 || notify_value == END_ACTION) {
        if (turn_controller.turn_state == Turning) {
          isStop = NEED_TO_STOP;
        }
      }

      if (count_trot == 100) {  // trot -> turn
        left_length = 0.1;
        right_length = 0.3;
        trot_or_turn = 1;
        count_trot = 0;
      }

      if (count_turn == 80) {  // turn -> trot
        left_length = 0.3;
        right_length = 0.3;
        trot_or_turn = 0;
        count_turn = 0;
      }

      if (turn_controller.turn_state != EndTurn) {
        Turn_FSM(&turn_controller, left_length, right_length, turn_height, robot_height);

        if (turn_controller.turn_state == Turning) {
          if (t == 0) {
            if (trot_or_turn == 0) {
              count_trot++;
            }
            else {
              count_turn++;
            }
            count++;
          }
        }

        if (turn_controller.turn_state != EndTurn) {
          __HAL_TIM_CLEAR_IT(&htim2, TIM_IT_UPDATE);
          __HAL_TIM_SET_COUNTER(&htim2, 0);
          HAL_TIM_Base_Start_IT(&htim2);
        }
      }

      notify_value = 0;
    }

    // for(uint8_t i = 0; i < 23; i++) {
		// 	HAL_UART_Receive(&huart2, imu_rx_data + i, 1, 10);
		// }

    // Q_Value.x.val_32bit=u8_to_u32(imu_rx_data[7],imu_rx_data[6],imu_rx_data[5],imu_rx_data[4]);
		// Q_Value.y.val_32bit=u8_to_u32(imu_rx_data[11],imu_rx_data[10],imu_rx_data[9],imu_rx_data[8]);
		// Q_Value.z.val_32bit=u8_to_u32(imu_rx_data[15],imu_rx_data[14],imu_rx_data[13],imu_rx_data[12]);
		// Q_Value.w.val_32bit=u8_to_u32(imu_rx_data[19],imu_rx_data[18],imu_rx_data[17],imu_rx_data[16]);

		// IMU_quaterToEulerianAngles();

    // angle_to_position();

    osDelay(1);
  }
  /* USER CODE END ParseIMUTask */
}

void NotifyActionTask(void *argument)
{
  /* USER CODE BEGIN NotifyActionTask */

  uint8_t last_handle_command[CMD_SIZE] = {0};

  /* Infinite loop */
  for(;;)
  {
    if (t != pre_t) {
      // HAL_TIM_Base_Stop_IT(&htim2);
	    // __HAL_TIM_CLEAR_IT(&htim2, TIM_IT_UPDATE);

      if ((handle_command[0] == TROT_FORWARD_CMD && (handle_command[1] == NO_CMD || handle_command[1] == TO_FASTEST)) ||
          (handle_command[2] - 125 < 0 && handle_command[1] == NO_CMD)) {
        TaskHandle = TrotForwardHandle;
        xTaskNotify((TaskHandle_t)TrotForwardHandle, START_ACTION, eSetValueWithOverwrite);
      }
      else if ((handle_command[0] == TROT_BACK_CMD && handle_command[1] == NO_CMD) ||
               (handle_command[2] - 125 > 0 && handle_command[1] == NO_CMD)) {
        TaskHandle = TrotBackHandle;
        xTaskNotify((TaskHandle_t)TrotBackHandle, START_ACTION, eSetValueWithOverwrite);
      }
      else if (handle_command[0] == ROTATE_LEFT_CMD && handle_command[1] == NO_CMD) {
        TaskHandle = RotateLeftHandle;
        xTaskNotify((TaskHandle_t)RotateLeftHandle, START_ACTION, eSetValueWithOverwrite);
      }
      else if (handle_command[0] == ROTATE_RIGHT_CMD && handle_command[1] == NO_CMD) {
        TaskHandle = RotateRightHandle;
        xTaskNotify((TaskHandle_t)RotateRightHandle, START_ACTION, eSetValueWithOverwrite);
      }
      // else if (handle_command[0] == MOVE_LEFT_CMD && handle_command[1] == NO_CMD) {
      //   TaskHandle = MoveLeftHandle;
      //   xTaskNotify((TaskHandle_t)MoveLeftHandle, START_ACTION, eSetValueWithOverwrite);
      // }
      // else if (handle_command[0] == MOVE_RIGHT_CMD && handle_command[1] == NO_CMD) {
      //   TaskHandle = MoveRightHandle;
      //   xTaskNotify((TaskHandle_t)MoveRightHandle, START_ACTION, eSetValueWithOverwrite);
      // }
      else if (handle_command[0] == TROT_FORWARD_CMD && handle_command[1] == SLOPE_CMD) {
        TaskHandle = WalkSlopeHandle;
        xTaskNotify((TaskHandle_t)WalkSlopeHandle, START_ACTION, eSetValueWithOverwrite);
      }
      else if (handle_command[0] == TROT_FORWARD_CMD && handle_command[1] == SLOPE_LR_CMD) {
        TaskHandle = WalkSlope_LRHandle;
        xTaskNotify((TaskHandle_t)WalkSlope_LRHandle, START_ACTION, eSetValueWithOverwrite);
      }
      else if (handle_command[0] == STOP_CMD && handle_command[1] == SLOPE_CMD) {
        xTaskNotify((TaskHandle_t)WalkSlopeHandle, END_ACTION, eSetValueWithOverwrite);
      }
      else if (handle_command[0] == STOP_CMD && handle_command[1] == SLOPE_LR_CMD) {
        xTaskNotify((TaskHandle_t)WalkSlope_LRHandle, END_ACTION, eSetValueWithOverwrite);
      }
      else if (handle_command[0] == STOP_CMD && handle_command[1] == TO_FASTEST) {
        if (TaskHandle != NULL) {
          xTaskNotify((TaskHandle_t)TaskHandle, END_ACTION, eSetValueWithOverwrite);
        }
      }
      else if ((handle_command[0] == STOP_CMD && handle_command[1] == NO_CMD) ||
               (handle_command[2] == 125 && handle_command[1] == NO_CMD)) {
        if (TaskHandle != NULL) {
          xTaskNotify((TaskHandle_t)TaskHandle, END_ACTION, eSetValueWithOverwrite);
        }
      }
      else if (handle_command[1] == 0x01 && handle_command[0] == STOP_CMD) {
        TaskHandle = ParseIMUHandle;
        xTaskNotify((TaskHandle_t)ParseIMUHandle, START_ACTION, eSetValueWithoutOverwrite);
      }

      pre_t = t;
    }

    if (CompareCommand(last_handle_command, handle_command) != 0) {
      if (handle_command[0] == JUMP_UP_CMD && handle_command[1] == NO_CMD) {
        TaskHandle = JumpUpHandle;
        xTaskNotify((TaskHandle_t)JumpUpHandle, START_ACTION, eSetValueWithOverwrite);
      }
      else if (handle_command[0] == JUMP_FORWARD_CMD && handle_command[1] == NO_CMD) {
        TaskHandle = JumpForwardHandle;
        xTaskNotify((TaskHandle_t)JumpForwardHandle, START_ACTION, eSetValueWithOverwrite);
      }
      else if (handle_command[0] == STOP_CMD && handle_command[1] == BECOME_HIGHER) {
        robot_height += 0.01;
        TaskHandle = NULL;
      }
      else if (handle_command[0] == STOP_CMD && handle_command[1] == BECOME_LOWWER) {
        robot_height -= 0.01;
        TaskHandle = NULL;
      }
      else if (handle_command[0] == STOP_CMD && handle_command[1] == TO_FASTEST) {
        if (trot_length != MAX_TROT_LENGTH) {
          trot_length = MAX_TROT_LENGTH;
        }
      }
      // else if (handle_command[0] == STOP_CMD && handle_command[1] == SLOPE_CMD) {
      //   if (isSlope != SLOPE) {
      //     isSlope = SLOPE;
      //   }
      // }
      // else if (handle_command[0] == STOP_CMD && handle_command[1] == SLOPE_LR_CMD) {
      //   if (isSlope != SLOPE_LR) {
      //     isSlope = SLOPE_LR;
      //   }
      // }
      else if (handle_command[0] == STOP_CMD && handle_command[1] == NO_CMD) {
        if (trot_length != INIT_TROT_LENGTH) {
          trot_length = INIT_TROT_LENGTH;
        }
        else if (isSlope != NO_SLOPE) {
          isSlope = NO_SLOPE;
        }
      }
    }

    memcpy(last_handle_command, handle_command, sizeof(handle_command));

    osDelay(1);
  }
  /* USER CODE END NotifyActionTask */
}

void ParseCameraTask(void *argument)
{
  /* USER CODE BEGIN ParseCameraTask */

  uint8_t rx_camera[RX_BTYES_LENGTH];

  /* Infinite loop */
  for(;;)
  {
    // if (xQueueReceive(camera_queue, rx_camera, portMAX_DELAY) == pdPASS) {
    //   if (check_rx_bytes(rx_camera) == RX_NORMAL) {
    //     parse_camera_bytes(rx_camera);
    //   }
    // }
    if (check_rx_bytes(rx_bytes)) {
      parse_camera_bytes(rx_bytes);
    }
    osDelay(1);
  }
  /* USER CODE END ParseCameraTask */
}
